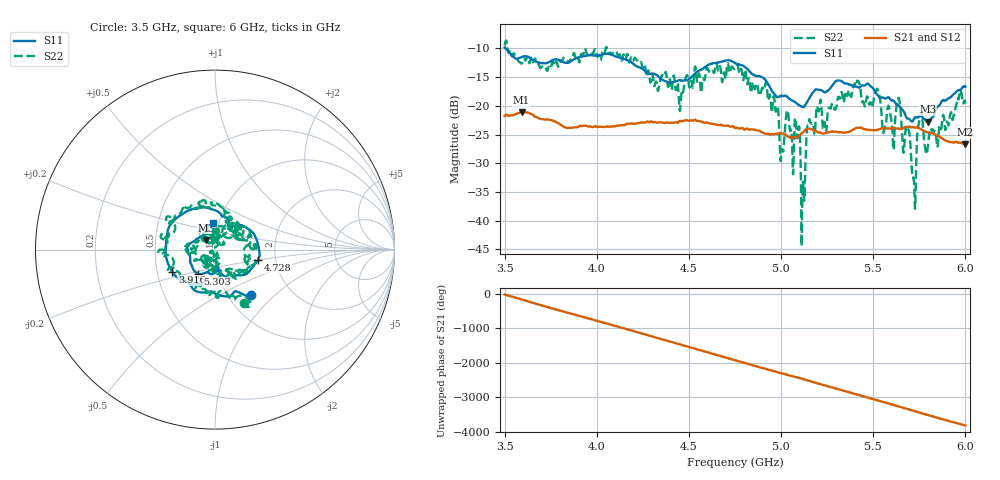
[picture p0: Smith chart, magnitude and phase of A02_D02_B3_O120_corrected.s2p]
! Created with skrf 1.9.0 (http://scikit-rf.org).
# Hz S RI R 50.0
!freq ReS11 ImS11 ReS21 ImS21 ReS12 ImS12 ReS22 ImS22
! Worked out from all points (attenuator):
!   1601 points, 3.5 GHz to 6 GHz, reference 50 ohm
!   highest |S21| = -21.10 dB at 3.592 GHz (marker M1); lowest = -26.7 dB at 6 GHz (marker M2)
!   lowest |S11| = -22.7 dB at 5.797 GHz (marker M3), VSWR 1.16, Z = 45.1 + j4.88 ohm
!   |S11| at or under -10 dB: 3.506 GHz to end of sweep
!   |S22| runs from -44.5 to -8.6 dB; largest |S21 - S12| = 0.0011
!   S11 on the Smith chart (normalised r, x): 3.5 GHz: 1.27, -0.72; 3.916 GHz: 0.60, -0.16; 4.728 GHz: 1.62, -0.20; 5.303 GHz: 0.80, -0.22; 6 GHz: 0.94, +0.28
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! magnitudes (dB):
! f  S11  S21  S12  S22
! 3.5 GHz  -9.8  -21.8  -21.7  -9.5
! 3.592 GHz  -11.5  -21.1  -21.1  -12.6
! 3.916 GHz  -11.4  -23.5  -23.5  -11.0
! 3.917 GHz  -11.4  -23.5  -23.5  -10.9
! 4.334 GHz  -14.9  -22.9  -22.8  -17.2
! 4.728 GHz  -12.1  -23.7  -23.5  -13.4
! 4.75 GHz  -12.6  -23.9  -23.8  -13.5
! 4.97 GHz  -18.2  -24.9  -24.8  -20.9
! 5.003 GHz  -18.3  -24.8  -24.8  -27.9
! 5.033 GHz  -18.4  -25.3  -25.2  -20.8
! 5.088 GHz  -19.7  -25.4  -25.4  -25.6
! 5.119 GHz  -20.2  -24.6  -24.5  -33.2
! 5.145 GHz  -19.1  -24.0  -24.0  -23.4
! 5.167 GHz  -17.9  -24.1  -24.0  -23.1
! 5.303 GHz  -15.6  -24.6  -24.5  -19.6
! 5.414 GHz  -16.7  -23.8  -23.8  -15.7
! 5.584 GHz  -18.5  -24.0  -23.9  -20.0
! 5.639 GHz  -20.0  -24.0  -23.9  -18.6
! 5.72 GHz  -22.3  -23.8  -23.7  -32.9
! 5.753 GHz  -21.8  -24.0  -23.9  -22.2
! 5.797 GHz  -22.7  -24.6  -24.6  -27.1
! 6 GHz  -16.6  -26.7  -26.6  -19.6
